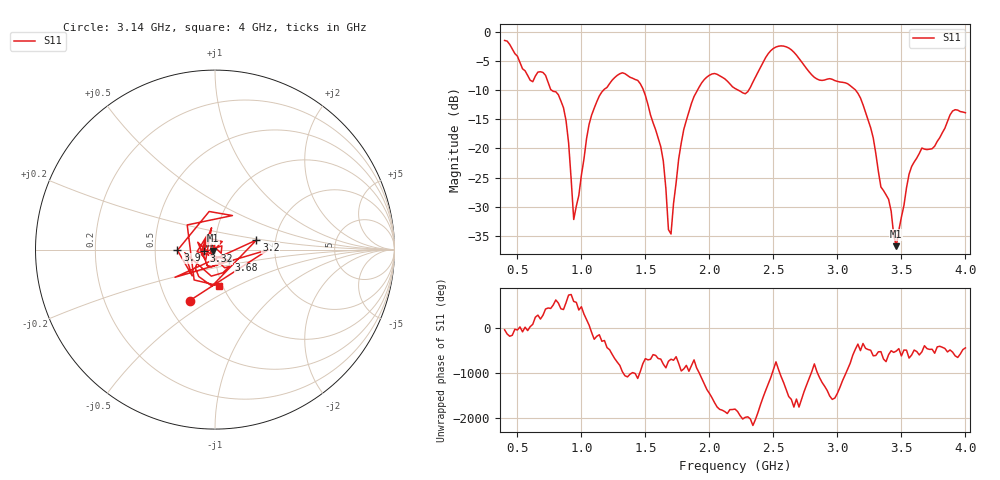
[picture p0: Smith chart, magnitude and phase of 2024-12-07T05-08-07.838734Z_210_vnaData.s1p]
!Created with skrf (http://scikit-rf.org).
# Hz S RI R 50.0
!freq ReS11 ImS11
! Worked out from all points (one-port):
!   181 points, 400 MHz to 4 GHz, reference 50 ohm
!   lowest |S11| = -36.8 dB at 3.46 GHz (marker M1), VSWR 1.03, Z = 48.7 - j0.591 ohm
!   |S11| at or under -10 dB: 766.7 MHz to 1.173 GHz (406.3 MHz wide, 41.9 % of centre); 1.484 GHz to 1.907 GHz (422.7 MHz wide, 24.9 % of centre); 3.142 GHz to end of sweep (the widest 3 of 4)
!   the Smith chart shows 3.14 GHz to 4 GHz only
!   S11 on the Smith chart (normalised r, x): 3.14 GHz: 0.65, -0.41; 3.2 GHz: 1.59, +0.18; 3.32 GHz: 0.88, -0.02; 3.68 GHz: 1.16, -0.14; 3.9 GHz: 0.65, -0.01; 4 GHz: 0.96, -0.40
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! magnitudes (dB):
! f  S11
! 400 MHz  -1.5
! 860 MHz  -13.0
! 900 MHz  -19.0
! 940 MHz  -32.2
! 1.08 GHz  -14.3
! 1.3 GHz  -7.2
! 1.5 GHz  -10.9
! 1.62 GHz  -19.7
! 1.66 GHz  -26.9
! 1.68 GHz  -33.9
! 1.7 GHz  -34.7
! 1.76 GHz  -21.8
! 1.86 GHz  -12.3
! 1.96 GHz  -8.2
! 2.2 GHz  -9.7
! 2.3 GHz  -10.3
! 2.5 GHz  -2.9
! 2.66 GHz  -3.5
! 3.1 GHz  -9.2
! 3.14 GHz  -9.9
! 3.2 GHz  -12.5
! 3.32 GHz  -23.9
! 3.4 GHz  -28.7
! 3.46 GHz  -36.8
! 3.56 GHz  -24.4
! 3.68 GHz  -20.1
! 3.9 GHz  -13.6
! 4 GHz  -13.9
